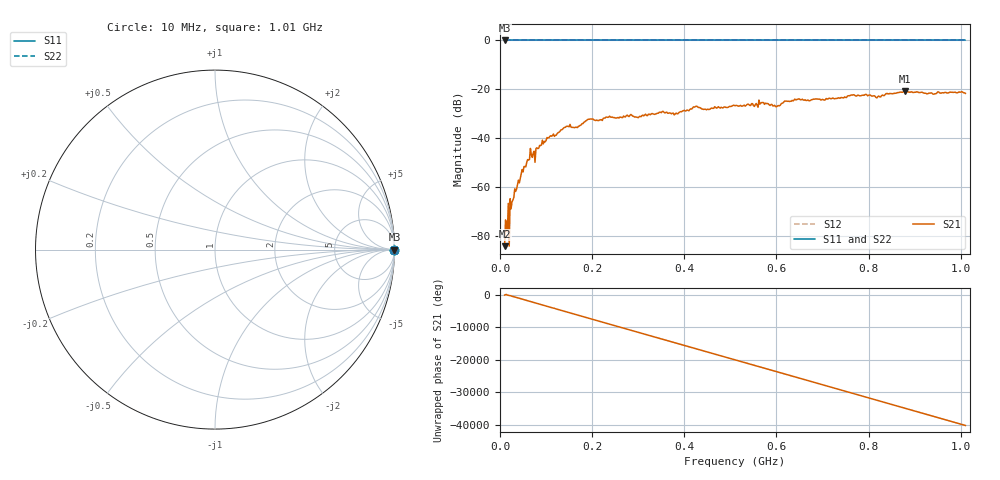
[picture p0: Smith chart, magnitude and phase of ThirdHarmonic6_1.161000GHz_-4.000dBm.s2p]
! 8/16/2025 11:38:13 AM
! C:\ANRITSUVNA\TEMP\TEMP.S2P
! CHANNEL.1
! TR.MEASUREMENT
! RAW.DATA
! RF.CORRECTION.OFF
! AVERAGING.OFF
! IF.BANDWIDTH: 5KHZ
! SWEEPTYPE:  FREQ.SWEEP(Linear)
! Reference Plane Port Info
! PORT:  PORT1  PORT2
! DISTANCE:  0  m  0  m
! TIME:  0  s  0  s
! PHASE.OFFSET:  0  deg.  0  deg.
! LOSS:  0  dB  0  dB
! REF.LOSS:  0  dB  0  dB
! REF.FREQ:  0  Hz  0  Hz
! Power Info
! POWER:  -20  dBm  -20  dBm
! EFF.POWER:  -20  dBm  -20  dBm
! SOURCE.ATTEN:  0  dB  0  dB
! TEST.ATTEN:  0  dB  0  dB
# GHZ S RI R 50.0
! FREQ.GHZ  S11RE  S11IM  S21RE  S21IM  S12RE  S12IM  S22RE  S22IM
!; PortSelection: Port_12
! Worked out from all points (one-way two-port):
!   501 points, 10 MHz to 1.01 GHz, reference 50 ohm
!   highest |S21| = -20.79 dB at 878 MHz (marker M1); lowest = -84.2 dB at 10 MHz (marker M2)
!   lowest |S11| = 0.0 dB at 10 MHz (marker M3)
!   |S11| at or under -10 dB: nowhere
!   |S22| runs from 0.0 to 0.0 dB; largest |S21 - S12| = 1.1
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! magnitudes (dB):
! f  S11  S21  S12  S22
! 10 MHz  0.0  -84.2  0.0  0.0
! 16 MHz  0.0  -78.4  0.0  0.0
! 36 MHz  0.0  -60.9  0.0  0.0
! 64 MHz  0.0  -48.7  0.0  0.0
! 70 MHz  0.0  -47.9  0.0  0.0
! 72 MHz  0.0  -46.1  0.0  0.0
! 106 MHz  0.0  -39.8  0.0  0.0
! 142 MHz  0.0  -35.6  0.0  0.0
! 178 MHz  0.0  -34.1  0.0  0.0
! 194 MHz  0.0  -32.2  0.0  0.0
! 344 MHz  0.0  -29.8  0.0  0.0
! 382 MHz  0.0  -29.8  0.0  0.0
! 424 MHz  0.0  -27.1  0.0  0.0
! 450 MHz  0.0  -28.2  0.0  0.0
! 510 MHz  0.0  -26.7  0.0  0.0
! 566 MHz  0.0  -25.7  0.0  0.0
! 602 MHz  0.0  -26.9  0.0  0.0
! 620 MHz  0.0  -24.8  0.0  0.0
! 678 MHz  0.0  -24.2  0.0  0.0
! 844 MHz  0.0  -21.9  0.0  0.0
! 878 MHz  0.0  -20.8  0.0  0.0
! 1.01 GHz  0.0  -21.7  0.0  0.0
